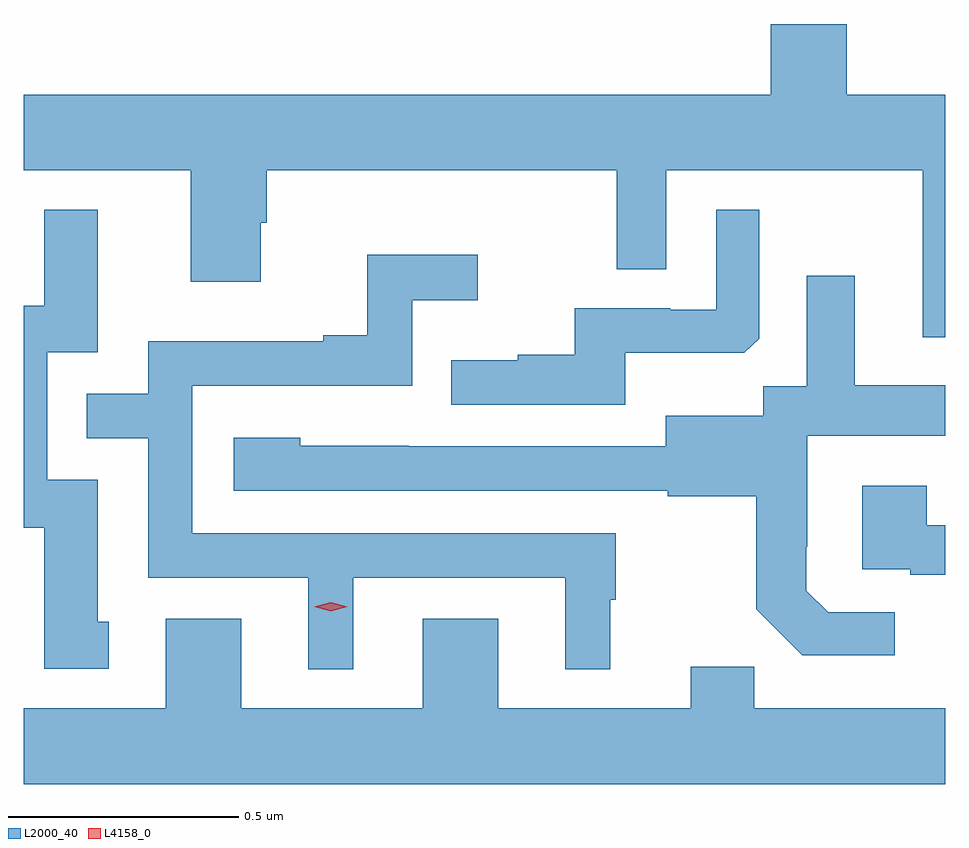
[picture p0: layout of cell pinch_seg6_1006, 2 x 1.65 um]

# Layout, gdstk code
import gdstk
lib = gdstk.Library(unit=1e-6, precision=1e-09)
def P(c, l, *ps):  # polygons
    for p in ps: c.add(gdstk.Polygon(p, *l))
L2000_40 = (2000, 40)
L4158_0 = (4158, 0)

pinch_seg6_1006 = lib.new_cell('pinch_seg6_1006')
P(pinch_seg6_1006, L2000_40, [(256.961,931.516),(256.747,931.516),(256.747,931.67),(256.583,931.67),(256.583,931.516),(254.961,931.516),(254.961,931.352),(255.323,931.352),(255.323,931.11),(255.475,931.11),(255.475,931.239),(255.488,931.239),(255.488,931.352),(256.248,931.352),(256.248,931.138),(256.356,931.138),(256.356,931.352),(256.913,931.352),(256.913,930.99),(256.961,930.99)],
  [(255.145,930.372),(255.121,930.372),(255.121,930.681),(255.012,930.681),(255.012,930.957),(255.121,930.957),(255.121,931.267),(255.005,931.267),(255.005,931.058),(254.961,931.058),(254.961,930.576),(255.005,930.576),(255.005,930.27),(255.145,930.27)],
  [(256.267,930.956),(256.525,930.956),(256.557,930.987),(256.557,931.267),(256.464,931.267),(256.464,931.05),(256.364,931.05),(256.364,931.053),(256.157,931.053),(256.157,930.952),(256.033,930.952),(256.033,930.94),(255.889,930.94),(255.889,930.843),(256.267,930.843)],
  [(255.676,930.468),(256.136,930.468),(256.136,930.269),(256.234,930.269),(256.234,930.42),(256.246,930.42),(256.246,930.564),(255.327,930.564),(255.327,930.885),(255.804,930.885),(255.804,931.07),(255.946,931.07),(255.946,931.169),(255.706,931.169),(255.706,930.994),(255.611,930.994),(255.611,930.981),(255.231,930.981),(255.231,930.867),(255.097,930.867),(255.097,930.771),(255.231,930.771),(255.231,930.468),(255.578,930.468),(255.578,930.269),(255.676,930.269)],
  [(256.852,930.393),(256.707,930.393),(256.66,930.44),(256.66,930.535),(256.662,930.535),(256.662,930.776),(256.961,930.776),(256.961,930.886),(256.765,930.886),(256.765,931.123),(256.661,931.123),(256.661,930.884),(256.566,930.884),(256.566,930.82),(256.355,930.82),(256.355,930.753),(255.797,930.753),(255.797,930.754),(255.561,930.754),(255.561,930.772),(255.417,930.772),(255.417,930.657),(256.359,930.657),(256.359,930.645),(256.551,930.645),(256.551,930.399),(256.651,930.299),(256.852,930.299)],
  [(256.961,930.582),(256.921,930.582),(256.921,930.667),(256.781,930.667),(256.781,930.486),(256.885,930.486),(256.885,930.474),(256.961,930.474)],
  [(256.961,930.184),(256.547,930.184),(256.547,930.275),(256.409,930.275),(256.409,930.184),(255.991,930.184),(255.991,930.379),(255.827,930.379),(255.827,930.184),(255.433,930.184),(255.433,930.379),(255.269,930.379),(255.269,930.184),(254.961,930.184),(254.961,930.02),(256.961,930.02)])
P(pinch_seg6_1006, L4158_0, [(255.627,930.395),(255.591,930.405),(255.591,930.405),(255.591,930.405),(255.627,930.415),(255.663,930.405),(255.663,930.405),(255.663,930.405)])

lib.write_gds('pinch_seg6_1006.gds')
